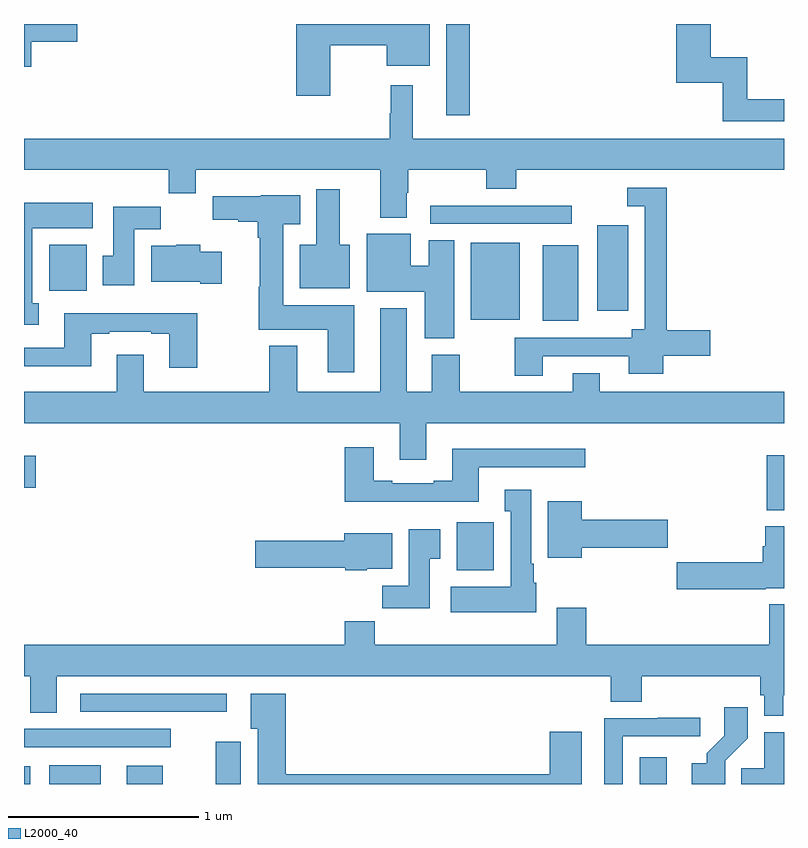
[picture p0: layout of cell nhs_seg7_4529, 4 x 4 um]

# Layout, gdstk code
import gdstk
lib = gdstk.Library(unit=1e-6, precision=1e-09)
def R(c, l, rs):  # rectangles x0, y0, x1, y1
    for r in rs: c.add(gdstk.rectangle(r[:2], r[2:], *l))
def P(c, l, *ps):  # polygons
    for p in ps: c.add(gdstk.Polygon(p, *l))
L2000_40 = (2000, 40)

nhs_seg7_4529 = lib.new_cell('nhs_seg7_4529')
R(nhs_seg7_4529, L2000_40, [(395,1048,395.032,1048.093), (395.132,1048,395.404,1048.099), (395.54,1048,395.731,1048.096), (396.008,1048,396.142,1048.222), (398.24,1048,398.383,1048.141), (395,1048.194,395.773,1048.29), (395.295,1048.38,396.067,1048.476), (397.277,1049.126,397.473,1049.377), (398.909,1049.441,399,1049.731), (395,1049.558,395.062,1049.728), (397.73,1050.437,397.918,1050.835), (397.352,1050.443,397.609,1050.85), (398.018,1050.492,398.179,1050.94), (395.132,1050.596,395.329,1050.838), (397.137,1050.948,397.882,1051.044), (397.223,1051.521,397.345,1052)])
P(nhs_seg7_4529, L2000_40, [(399,1051.604),(398.806,1051.604),(398.806,1051.826),(398.615,1051.826),(398.615,1052),(398.432,1052),(398.432,1051.69),(398.677,1051.69),(398.677,1051.488),(399,1051.488)],
  [(396.612,1051.888),(396.908,1051.888),(396.908,1051.781),(397.135,1051.781),(397.135,1052),(396.434,1052),(396.434,1051.623),(396.612,1051.623)],
  [(395.038,1051.907),(395.281,1051.907),(395.281,1052),(395,1052),(395,1051.775),(395.038,1051.775)],
  [(397.015,1051.112),(397.023,1051.112),(397.023,1051.232),(397.432,1051.232),(397.432,1051.133),(397.592,1051.133),(397.592,1051.232),(399,1051.232),(399,1051.396),(397.045,1051.396),(397.045,1051.678),(396.931,1051.678),(396.931,1051.529),(396.924,1051.529),(396.924,1051.396),(395,1051.396),(395,1051.232),(395.761,1051.232),(395.761,1051.108),(395.905,1051.108),(395.905,1051.232),(396.875,1051.232),(396.875,1050.98),(397.015,1050.98)],
  [(397.729,1050.252),(398.183,1050.252),(398.183,1050.158),(398.365,1050.158),(398.365,1050.254),(398.611,1050.254),(398.611,1050.389),(398.384,1050.389),(398.384,1051.137),(398.175,1051.137),(398.175,1051.041),(398.268,1051.041),(398.268,1050.394),(398.198,1050.394),(398.198,1050.348),(397.582,1050.348),(397.582,1050.15),(397.729,1050.15)],
  [(396.715,1050.838),(396.661,1050.838),(396.661,1051.129),(396.539,1051.129),(396.539,1050.838),(396.452,1050.838),(396.452,1050.608),(396.715,1050.608)],
  [(396.739,1050.52),(396.364,1050.52),(396.364,1050.947),(396.454,1050.947),(396.454,1051.099),(396.246,1051.099),(396.246,1051.093),(395.994,1051.093),(395.994,1050.971),(396.127,1050.971),(396.127,1050.959),(396.23,1050.959),(396.23,1050.875),(396.242,1050.875),(396.242,1050.616),(396.235,1050.616),(396.235,1050.392),(396.599,1050.392),(396.599,1050.168),(396.739,1050.168)],
  [(395.077,1050.53),(395.044,1050.53),(395.044,1050.926),(395.362,1050.926),(395.362,1051.06),(395,1051.06),(395,1050.417),(395.077,1050.417)],
  [(395.581,1050.92),(395.72,1050.92),(395.72,1051.039),(395.471,1051.039),(395.471,1050.78),(395.414,1050.78),(395.414,1050.624),(395.581,1050.624)],
  [(397.264,1050.863),(397.13,1050.863),(397.13,1050.727),(397.036,1050.727),(397.036,1050.895),(396.803,1050.895),(396.803,1050.59),(397.109,1050.59),(397.109,1050.347),(397.264,1050.347)],
  [(396.04,1050.802),(395.928,1050.802),(395.928,1050.838),(395.802,1050.838),(395.802,1050.832),(395.669,1050.832),(395.669,1050.644),(395.927,1050.644),(395.927,1050.632),(396.04,1050.632)],
  [(397.117,1049.9),(399,1049.9),(399,1050.064),(398.029,1050.064),(398.029,1050.163),(397.889,1050.163),(397.889,1050.064),(397.293,1050.064),(397.293,1050.259),(397.145,1050.259),(397.145,1050.064),(397.015,1050.064),(397.015,1050.505),(396.875,1050.505),(396.875,1050.064),(396.439,1050.064),(396.439,1050.307),(396.292,1050.307),(396.292,1050.064),(395.629,1050.064),(395.629,1050.259),(395.489,1050.259),(395.489,1050.064),(395,1050.064),(395,1049.9),(396.977,1049.9),(396.977,1049.706),(397.117,1049.706)],
  [(395.913,1050.478),(395.213,1050.478),(395.213,1050.297),(395,1050.297),(395,1050.2),(395.353,1050.2),(395.353,1050.369),(395.449,1050.369),(395.449,1050.381),(395.669,1050.381),(395.669,1050.369),(395.765,1050.369),(395.765,1050.192),(395.913,1050.192)],
  [(397.393,1049.667),(397.954,1049.667),(397.954,1049.764),(397.253,1049.764),(397.253,1049.596),(397.157,1049.596),(397.157,1049.583),(396.937,1049.583),(396.937,1049.596),(396.841,1049.596),(396.841,1049.773),(396.689,1049.773),(396.689,1049.486),(397.393,1049.486)],
  [(397.696,1049.058),(397.684,1049.058),(397.684,1049.158),(397.669,1049.158),(397.669,1049.548),(397.529,1049.548),(397.529,1049.435),(397.562,1049.435),(397.562,1049.038),(397.245,1049.038),(397.245,1048.904),(397.696,1048.904)],
  [(397.936,1049.243),(398.389,1049.243),(398.389,1049.39),(397.936,1049.39),(397.936,1049.488),(397.757,1049.488),(397.757,1049.192),(397.936,1049.192)],
  [(398.904,1049.03),(399,1049.03),(399,1049.356),(398.9,1049.356),(398.9,1049.252),(398.888,1049.252),(398.888,1049.168),(398.436,1049.168),(398.436,1049.026),(398.904,1049.026)],
  [(397.135,1049.185),(397.192,1049.185),(397.192,1049.341),(397.025,1049.341),(397.025,1049.044),(396.886,1049.044),(396.886,1048.926),(397.135,1048.926)],
  [(396.804,1049.132),(396.937,1049.132),(396.937,1049.32),(396.686,1049.32),(396.686,1049.279),(396.216,1049.279),(396.216,1049.137),(396.69,1049.137),(396.69,1049.126),(396.804,1049.126)],
  [(398.996,1048.467),(399,1048.467),(399,1048.945),(398.923,1048.945),(398.923,1048.732),(397.958,1048.732),(397.958,1048.927),(397.805,1048.927),(397.805,1048.732),(396.845,1048.732),(396.845,1048.856),(396.689,1048.856),(396.689,1048.732),(395,1048.732),(395,1048.568),(395.033,1048.568),(395.033,1048.375),(395.173,1048.375),(395.173,1048.568),(398.087,1048.568),(398.087,1048.432),(398.252,1048.432),(398.252,1048.568),(398.875,1048.568),(398.875,1048.467),(398.895,1048.467),(398.895,1048.358),(398.996,1048.358)],
  [(397.936,1048.276),(397.766,1048.276),(397.766,1048.052),(396.377,1048.052),(396.377,1048.474),(396.194,1048.474),(396.194,1048.292),(396.23,1048.292),(396.23,1048),(397.936,1048)],
  [(398.691,1048.123),(398.81,1048.242),(398.81,1048.405),(398.685,1048.405),(398.685,1048.253),(398.594,1048.163),(398.594,1048.108),(398.514,1048.108),(398.514,1048),(398.691,1048)],
  [(398.151,1048.251),(398.56,1048.251),(398.56,1048.35),(398.335,1048.35),(398.335,1048.347),(398.055,1048.347),(398.055,1048),(398.151,1048)],
  [(399,1048.273),(398.897,1048.273),(398.897,1048.082),(398.776,1048.082),(398.776,1048),(399,1048)])

lib.write_gds('nhs_seg7_4529.gds')
